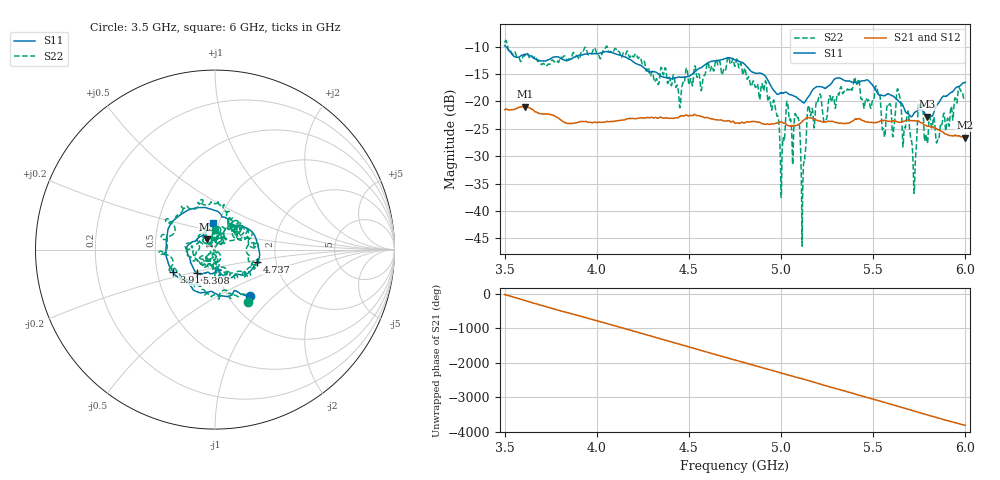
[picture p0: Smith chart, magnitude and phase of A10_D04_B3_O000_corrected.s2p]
! Created with skrf 1.9.0 (http://scikit-rf.org).
# Hz S RI R 50.0
!freq ReS11 ImS11 ReS21 ImS21 ReS12 ImS12 ReS22 ImS22
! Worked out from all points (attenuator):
!   1601 points, 3.5 GHz to 6 GHz, reference 50 ohm
!   highest |S21| = -20.96 dB at 3.609 GHz (marker M1); lowest = -26.6 dB at 5.997 GHz (marker M2)
!   lowest |S11| = -22.8 dB at 5.794 GHz (marker M3), VSWR 1.16, Z = 45.5 + j5.24 ohm
!   |S11| at or under -10 dB: 3.508 GHz to end of sweep
!   |S22| runs from -46.4 to -8.9 dB; largest |S21 - S12| = 0.0011
!   S11 on the Smith chart (normalised r, x): 3.5 GHz: 1.26, -0.72; 3.914 GHz: 0.61, -0.16; 4.737 GHz: 1.60, -0.23; 5.308 GHz: 0.79, -0.21; 6 GHz: 0.93, +0.29
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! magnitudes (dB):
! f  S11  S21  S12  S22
! 3.5 GHz  -9.8  -21.5  -21.5  -9.2
! 3.609 GHz  -11.4  -21.0  -21.0  -11.7
! 3.914 GHz  -11.5  -23.7  -23.6  -11.2
! 3.917 GHz  -11.5  -23.7  -23.6  -10.9
! 4.334 GHz  -15.0  -23.0  -23.0  -16.9
! 4.737 GHz  -12.2  -23.6  -23.6  -12.2
! 4.75 GHz  -12.4  -24.0  -23.9  -13.6
! 4.911 GHz  -15.2  -24.2  -24.1  -16.9
! 5.005 GHz  -18.4  -23.8  -23.7  -30.9
! 5.034 GHz  -18.5  -24.4  -24.3  -20.1
! 5.086 GHz  -19.3  -24.4  -24.3  -23.1
! 5.119 GHz  -20.2  -23.5  -23.4  -34.0
! 5.147 GHz  -19.2  -22.9  -22.9  -21.0
! 5.167 GHz  -18.1  -23.1  -23.0  -21.3
! 5.308 GHz  -15.7  -23.9  -23.8  -18.6
! 5.584 GHz  -18.6  -23.6  -23.6  -20.6
! 5.639 GHz  -20.0  -23.8  -23.7  -18.5
! 5.722 GHz  -22.1  -23.5  -23.4  -36.8
! 5.755 GHz  -21.5  -23.8  -23.7  -20.8
! 5.794 GHz  -22.8  -24.5  -24.4  -27.6
! 5.997 GHz  -16.5  -26.6  -26.5  -19.4
! 6 GHz  -16.5  -26.6  -26.5  -19.2
